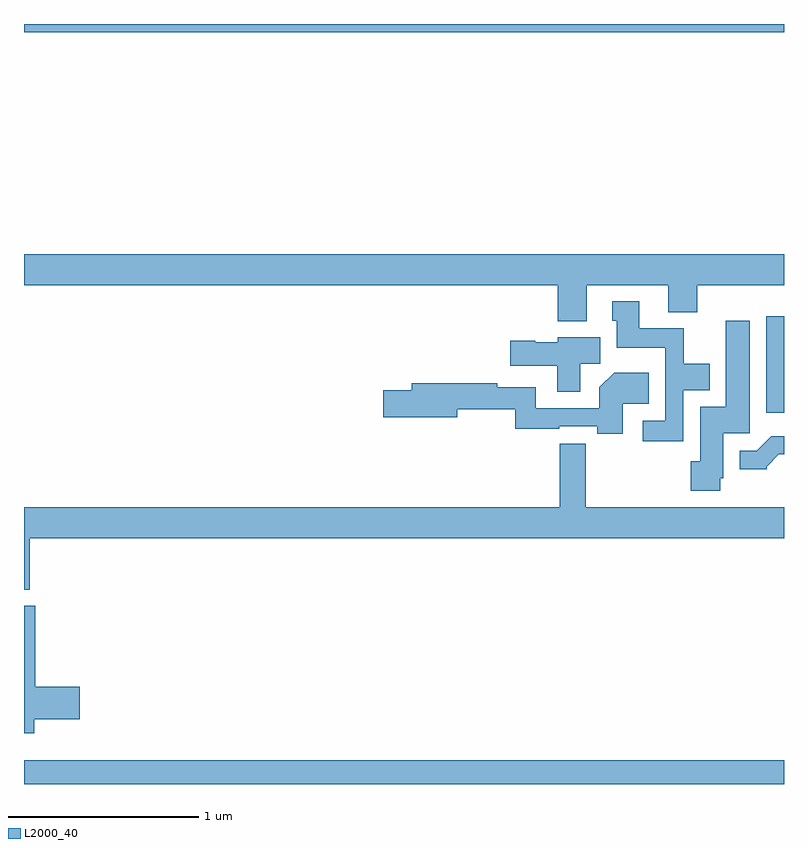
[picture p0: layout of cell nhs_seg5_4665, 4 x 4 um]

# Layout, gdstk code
import gdstk
lib = gdstk.Library(unit=1e-6, precision=1e-09)
def R(c, l, rs):  # rectangles x0, y0, x1, y1
    for r in rs: c.add(gdstk.rectangle(r[:2], r[2:], *l))
def P(c, l, *ps):  # polygons
    for p in ps: c.add(gdstk.Polygon(p, *l))
L2000_40 = (2000, 40)

nhs_seg5_4665 = lib.new_cell('nhs_seg5_4665')
R(nhs_seg5_4665, L2000_40, [(385,856.799,389,856.924), (388.907,858.753,389,859.261), (385,860.756,389,860.799)])
P(nhs_seg5_4665, L2000_40, [(387.961,859.424),(388.391,859.424),(388.391,859.283),(388.544,859.283),(388.544,859.424),(389,859.424),(389,859.588),(385,859.588),(385,859.424),(387.809,859.424),(387.809,859.235),(387.961,859.235)],
  [(388.47,858.872),(388.609,858.872),(388.609,859.012),(388.473,859.012),(388.473,859.198),(388.237,859.198),(388.237,859.339),(388.097,859.339),(388.097,859.236),(388.121,859.236),(388.121,859.094),(388.374,859.094),(388.374,858.711),(388.257,858.711),(388.257,858.603),(388.47,858.603)],
  [(388.665,858.408),(388.681,858.408),(388.681,858.645),(388.819,858.645),(388.819,859.237),(388.694,859.237),(388.694,858.784),(388.559,858.784),(388.559,858.498),(388.508,858.498),(388.508,858.342),(388.665,858.342)],
  [(387.928,859.012),(388.033,859.012),(388.033,859.15),(387.81,859.15),(387.81,859.123),(387.69,859.123),(387.69,859.131),(387.558,859.131),(387.558,859.001),(387.806,859.001),(387.806,858.864),(387.928,858.864)],
  [(388.15,858.8),(388.289,858.8),(388.289,858.964),(388.106,858.964),(388.028,858.886),(388.028,858.777),(387.693,858.777),(387.693,858.888),(387.49,858.888),(387.49,858.908),(387.041,858.908),(387.041,858.872),(386.892,858.872),(386.892,858.73),(387.28,858.73),(387.28,858.772),(387.585,858.772),(387.585,858.669),(387.816,858.669),(387.816,858.681),(388.016,858.681),(388.016,858.643),(388.15,858.643)],
  [(388.908,858.47),(388.972,858.534),(389,858.534),(389,858.628),(388.933,858.628),(388.857,858.552),(388.766,858.552),(388.766,858.455),(388.908,858.455)],
  [(385.03,858.092),(389,858.092),(389,858.256),(387.956,858.256),(387.956,858.589),(387.82,858.589),(387.82,858.256),(385,858.256),(385,857.821),(385.03,857.821)],
  [(385.055,857.141),(385.294,857.141),(385.294,857.312),(385.06,857.312),(385.06,857.736),(385,857.736),(385,857.067),(385.055,857.067)])

lib.write_gds('nhs_seg5_4665.gds')
